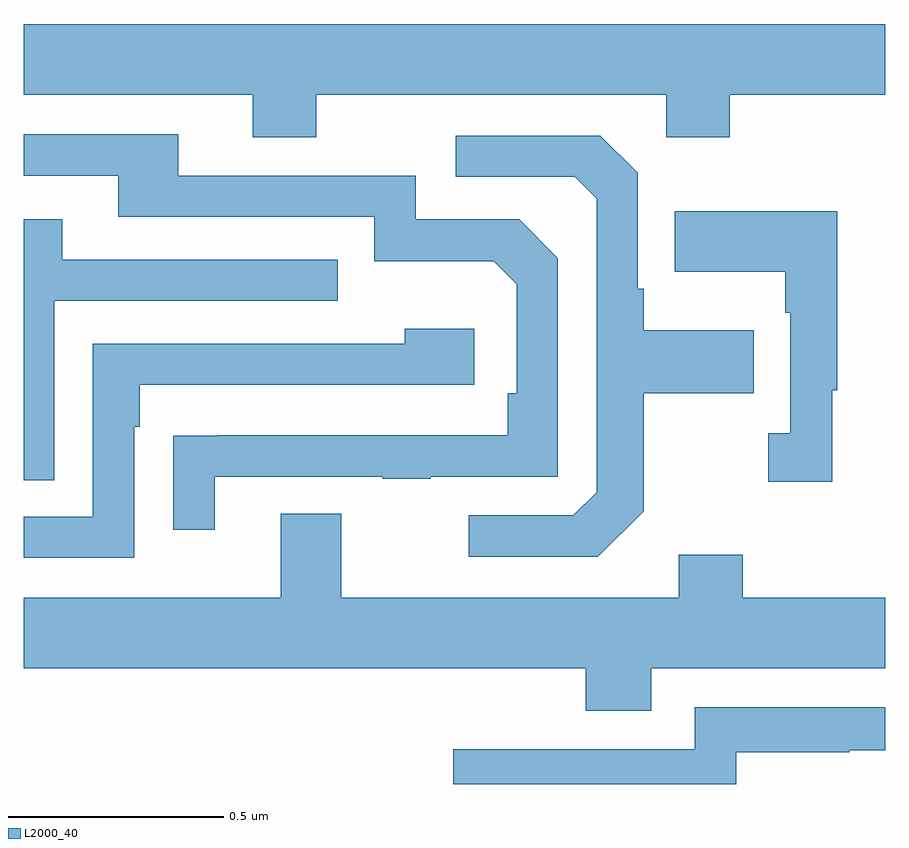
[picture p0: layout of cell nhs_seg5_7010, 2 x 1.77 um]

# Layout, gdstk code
import gdstk
lib = gdstk.Library(unit=1e-6, precision=1e-09)
def P(c, l, *ps):  # polygons
    for p in ps: c.add(gdstk.Polygon(p, *l))
L2000_40 = (2000, 40)

nhs_seg5_7010 = lib.new_cell('nhs_seg5_7010')
P(nhs_seg5_7010, L2000_40, [(203.679,883.4),(204.492,883.4),(204.492,883.301),(204.639,883.301),(204.639,883.4),(205,883.4),(205,883.564),(203,883.564),(203,883.4),(203.531,883.4),(203.531,883.301),(203.679,883.301)],
  [(203.443,882.513),(203.833,882.513),(203.833,882.508),(203.945,882.508),(203.945,882.513),(204.24,882.513),(204.24,883.02),(204.15,883.11),(203.91,883.11),(203.91,883.212),(203.359,883.212),(203.359,883.308),(203,883.308),(203,883.212),(203.219,883.212),(203.219,883.116),(203.814,883.116),(203.814,883.013),(204.091,883.013),(204.144,882.96),(204.144,882.706),(204.124,882.706),(204.124,882.609),(203.449,882.609),(203.449,882.608),(203.347,882.608),(203.347,882.39),(203.443,882.39)],
  [(204.439,882.433),(204.439,882.706),(204.695,882.706),(204.695,882.853),(204.439,882.853),(204.439,882.949),(204.426,882.949),(204.426,883.218),(204.339,883.305),(204.003,883.305),(204.003,883.209),(204.279,883.209),(204.33,883.158),(204.33,882.477),(204.276,882.423),(204.033,882.423),(204.033,882.327),(204.333,882.327)],
  [(204.877,882.713),(204.889,882.713),(204.889,883.129),(204.511,883.129),(204.511,882.989),(204.768,882.989),(204.768,882.893),(204.78,882.893),(204.78,882.614),(204.729,882.614),(204.729,882.501),(204.877,882.501)],
  [(203.07,882.921),(203.729,882.921),(203.729,883.017),(203.089,883.017),(203.089,883.111),(203,883.111),(203,882.505),(203.07,882.505)],
  [(203.256,882.629),(203.269,882.629),(203.269,882.726),(204.046,882.726),(204.046,882.856),(203.885,882.856),(203.885,882.822),(203.16,882.822),(203.16,882.42),(203,882.42),(203,882.324),(203.256,882.324)],
  [(204.457,882.068),(205,882.068),(205,882.232),(204.669,882.232),(204.669,882.331),(204.521,882.331),(204.521,882.232),(203.737,882.232),(203.737,882.427),(203.597,882.427),(203.597,882.232),(203,882.232),(203,882.068),(204.305,882.068),(204.305,881.969),(204.457,881.969)],
  [(204.654,881.873),(204.917,881.873),(204.917,881.877),(205,881.877),(205,881.977),(204.558,881.977),(204.558,881.88),(203.997,881.88),(203.997,881.799),(204.654,881.799)])

lib.write_gds('nhs_seg5_7010.gds')
